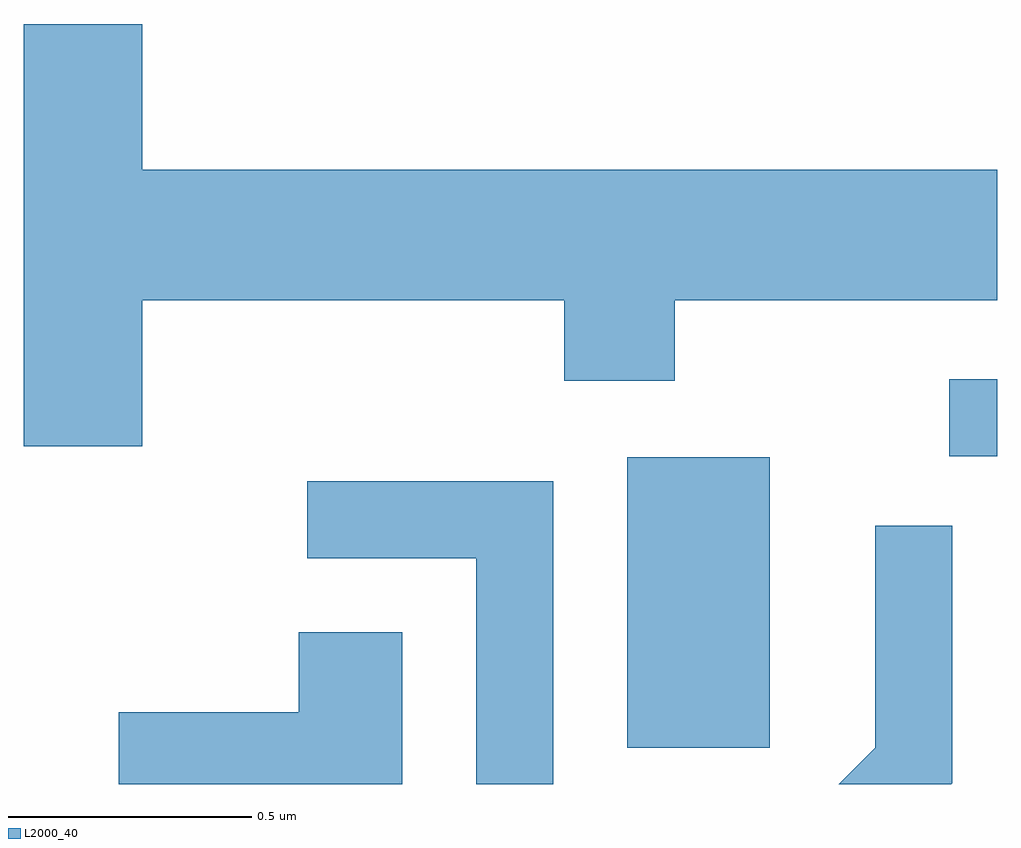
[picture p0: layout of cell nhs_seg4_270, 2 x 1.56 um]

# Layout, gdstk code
import gdstk
lib = gdstk.Library(unit=1e-6, precision=1e-09)
def R(c, l, rs):  # rectangles x0, y0, x1, y1
    for r in rs: c.add(gdstk.rectangle(r[:2], r[2:], *l))
def P(c, l, *ps):  # polygons
    for p in ps: c.add(gdstk.Polygon(p, *l))
L2000_40 = (2000, 40)

nhs_seg4_270 = lib.new_cell('nhs_seg4_270')
R(nhs_seg4_270, L2000_40, [(187.851,1387.056,188.144,1387.654), (188.513,1387.656,188.611,1387.814)])
P(nhs_seg4_270, L2000_40, [(186.854,1387.976),(187.721,1387.976),(187.721,1387.811),(187.949,1387.811),(187.949,1387.976),(188.611,1387.976),(188.611,1388.244),(186.854,1388.244),(186.854,1388.544),(186.611,1388.544),(186.611,1387.676),(186.854,1387.676)],
  [(187.699,1387.604),(187.193,1387.604),(187.193,1387.446),(187.541,1387.446),(187.541,1386.982),(187.699,1386.982)],
  [(188.519,1386.984),(188.519,1387.513),(188.361,1387.513),(188.361,1387.057),(188.286,1386.982),(188.517,1386.982)],
  [(187.389,1387.294),(187.176,1387.294),(187.176,1387.129),(186.806,1387.129),(186.806,1386.982),(187.389,1386.982)])

lib.write_gds('nhs_seg4_270.gds')
